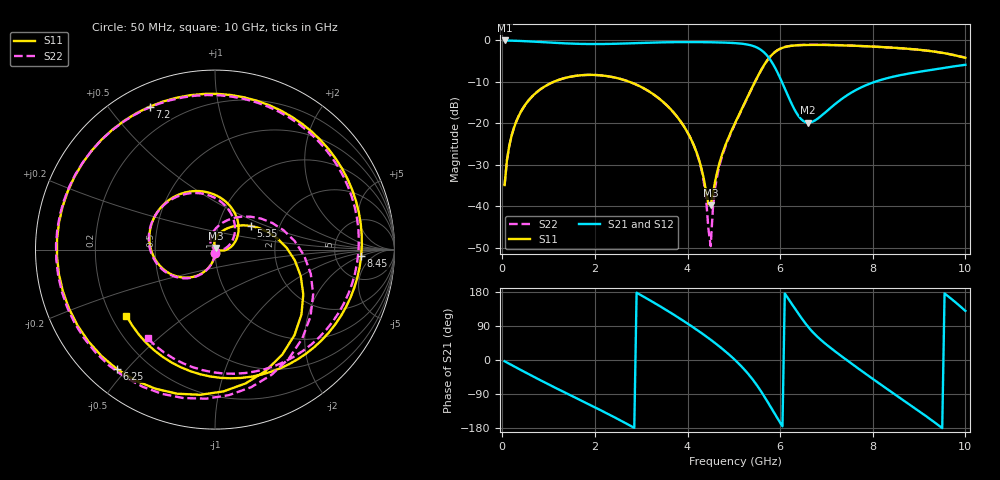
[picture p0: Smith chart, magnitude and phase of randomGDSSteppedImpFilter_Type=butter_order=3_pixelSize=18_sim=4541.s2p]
! freq	dB(S11)	phase(S11)	dB(S12)	phase(S12)
!  dB(S21)	phase(S21)	dB(S22)	phase(S22)
!S-par simulation data
#  GHz  S  DB  R 50
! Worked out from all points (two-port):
!   200 points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, 50 MHz to 10 GHz, reference 50 ohm
!   highest |S21| = -0.02 dB at 50 MHz (marker M1); lowest = -19.9 dB at 6.6 GHz (marker M2)
!   |S21| within 3 dB of the highest: start of sweep to 5.663 GHz
!   lowest |S11| = -39.8 dB at 4.5 GHz (marker M3), VSWR 1.02, Z = 50.5 + j0.9 ohm
!   |S11| at or under -10 dB: start of sweep to 1.111 GHz; 2.745 GHz to 5.456 GHz (2.711 GHz wide, 66.1 % of centre)
!   |S22| runs from -49.7 to -1.1 dB; largest |S21 - S12| = 0
!   S11 on the Smith chart (normalised r, x): 50 MHz: 1.00, -0.04; 5.35 GHz: 1.43, +0.40; 6.25 GHz: 0.09, -0.47; 7.2 GHz: 0.09, +0.64; 8.45 GHz: 9.35, -2.09; 10 GHz: 0.26, -0.31
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0.05  -34.91 -88.1  -0.02 -3.4  -0.02 -3.4  -34.91 -88.0
0.2  -23.04 -101.5  -0.07 -13.3  -0.07 -13.3  -23.03 -101.1
0.5  -15.48 -122.8  -0.20 -32.8  -0.20 -32.8  -15.47 -121.9
1.75  -8.38 158.2  -0.86 -109.8  -0.86 -109.8  -8.38 161.7
2.65  -9.63 101.2  -0.75 -165.8  -0.75 -165.8  -9.63 107.4
3.4  -14.17 48.7  -0.49 142.3  -0.49 142.3  -14.17 57.9
4.2  -27.16 -7.2  -0.42 79.7  -0.42 79.7  -27.25 0.7
4.5  -39.75 60.0  -0.45 53.5  -0.45 53.5  -49.66 106.0
4.65  -31.27 96.8  -0.49 39.5  -0.49 39.5  -32.15 134.5
5.05  -19.40 69.7  -0.68 -2.8  -0.68 -2.8  -19.56 93.2
5.35  -12.41 33.3  -1.14 -42.6  -1.14 -42.6  -12.49 50.7
5.6  -6.96 -7.7  -2.40 -85.0  -2.40 -85.0  -7.00 6.0
5.8  -3.73 -47.1  -4.90 -125.1  -4.90 -125.1  -3.74 -35.1
6.25  -1.30 -129.3  -15.35 148.2  -15.35 148.2  -1.27 -117.8
6.6  -1.10 -177.5  -19.85 88.2  -19.85 88.2  -1.06 -164.5
6.7  -1.09 170.2  -19.62 74.1  -19.62 74.1  -1.05 -176.2
7.2  -1.15 114.5  -15.25 21.5  -15.25 21.5  -1.13 131.1
7.75  -1.36 59.9  -11.34 -28.0  -11.34 -28.0  -1.36 79.0
8.35  -1.71 5.9  -9.01 -79.9  -9.01 -79.9  -1.72 25.3
8.45  -1.78 -2.6  -8.74 -88.4  -8.74 -88.4  -1.79 16.5
9.3  -2.66 -74.2  -7.06 -161.4  -7.06 -161.4  -2.67 -58.0
10  -4.21 -143.3  -5.89 129.6  -5.89 129.6  -4.14 -127.2
